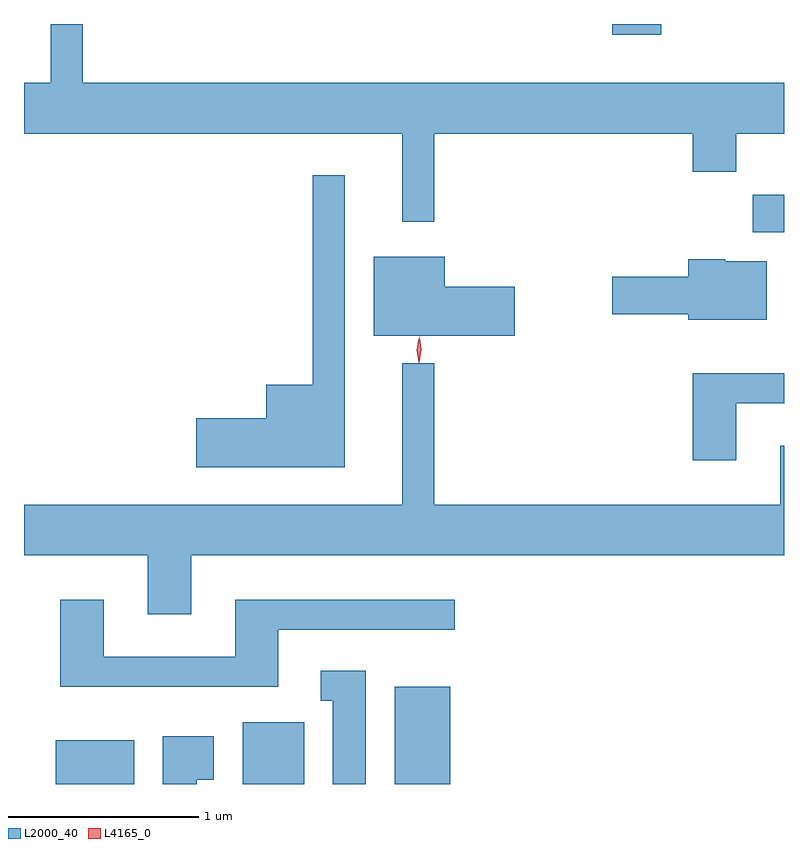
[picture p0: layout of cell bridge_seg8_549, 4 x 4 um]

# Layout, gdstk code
import gdstk
lib = gdstk.Library(unit=1e-6, precision=1e-09)
def R(c, l, rs):  # rectangles x0, y0, x1, y1
    for r in rs: c.add(gdstk.rectangle(r[:2], r[2:], *l))
def P(c, l, *ps):  # polygons
    for p in ps: c.add(gdstk.Polygon(p, *l))
L2000_40 = (2000, 40)
L4165_0 = (4165, 0)

bridge_seg8_549 = lib.new_cell('bridge_seg8_549')
R(bridge_seg8_549, L2000_40, [(464.676,1819.673,465.089,1819.904), (465.661,1819.673,465.984,1819.999), (466.461,1819.673,466.754,1820.184), (468.346,1822.576,468.51,1822.774), (467.606,1823.616,467.864,1823.673)])
P(bridge_seg8_549, L2000_40, [(466.669,1823.096),(468.031,1823.096),(468.031,1822.896),(468.259,1822.896),(468.259,1823.096),(468.51,1823.096),(468.51,1823.364),(464.819,1823.364),(464.819,1823.673),(464.651,1823.673),(464.651,1823.364),(464.51,1823.364),(464.51,1823.096),(466.501,1823.096),(466.501,1822.633),(466.669,1822.633)],
  [(466.199,1822.878),(466.031,1822.878),(466.031,1821.774),(465.786,1821.774),(465.786,1821.599),(465.416,1821.599),(465.416,1821.341),(466.199,1821.341)],
  [(467.094,1822.289),(466.724,1822.289),(466.724,1822.449),(466.351,1822.449),(466.351,1822.031),(467.094,1822.031)],
  [(468.419,1822.424),(468.2,1822.424),(468.2,1822.434),(468.006,1822.434),(468.006,1822.344),(467.606,1822.344),(467.606,1822.146),(468.006,1822.146),(468.006,1822.116),(468.419,1822.116)],
  [(465.389,1820.876),(468.51,1820.876),(468.51,1821.454),(468.491,1821.454),(468.491,1821.144),(466.669,1821.144),(466.669,1821.888),(466.501,1821.888),(466.501,1821.144),(464.51,1821.144),(464.51,1820.876),(465.161,1820.876),(465.161,1820.566),(465.389,1820.566)],
  [(468.259,1821.676),(468.51,1821.676),(468.51,1821.834),(468.031,1821.834),(468.031,1821.376),(468.259,1821.376)],
  [(465.849,1820.486),(466.778,1820.486),(466.778,1820.644),(465.621,1820.644),(465.621,1820.344),(464.929,1820.344),(464.929,1820.644),(464.701,1820.644),(464.701,1820.186),(465.849,1820.186)],
  [(466.309,1820.269),(466.073,1820.269),(466.073,1820.111),(466.136,1820.111),(466.136,1819.673),(466.309,1819.673)],
  [(465.419,1819.696),(465.509,1819.696),(465.509,1819.924),(465.241,1819.924),(465.241,1819.673),(465.419,1819.673)])
P(bridge_seg8_549, L4165_0, [(466.59,1821.89),(466.582,1821.958),(466.592,1822.025),(466.593,1822.026),(466.593,1822.025),(466.602,1821.958),(466.591,1821.89),(466.591,1821.89)],
  [(466.588,1821.893),(466.588,1821.894),(466.578,1821.956),(466.588,1822.02),(466.588,1822.02),(466.588,1822.02),(466.598,1821.956),(466.588,1821.894)])

lib.write_gds('bridge_seg8_549.gds')
